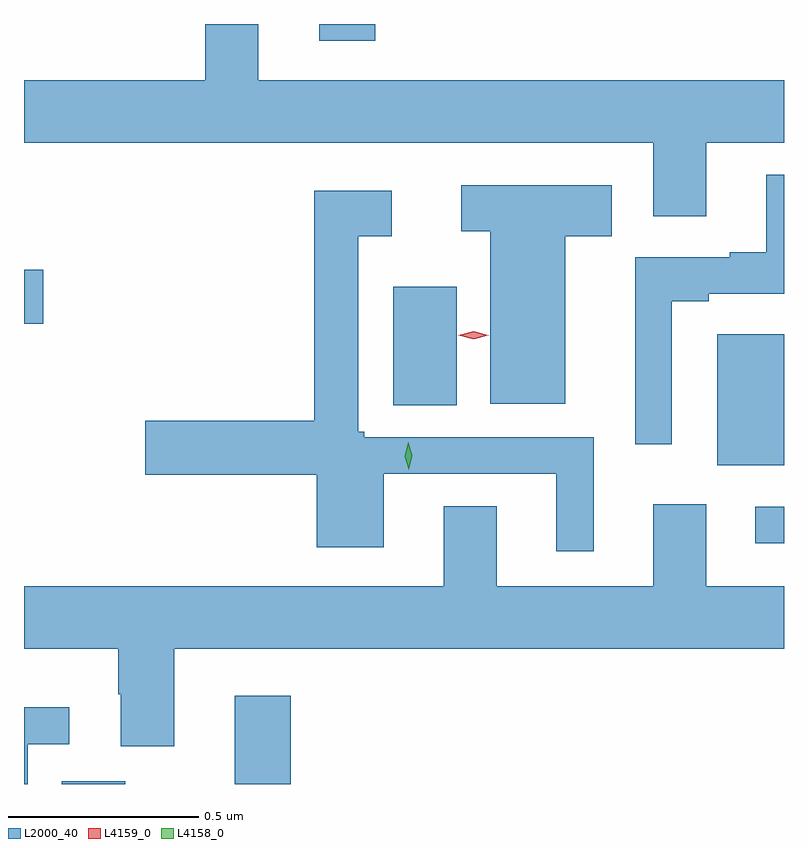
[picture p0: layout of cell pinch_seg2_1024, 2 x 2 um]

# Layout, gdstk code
import gdstk
lib = gdstk.Library(unit=1e-6, precision=1e-09)
def R(c, l, rs):  # rectangles x0, y0, x1, y1
    for r in rs: c.add(gdstk.rectangle(r[:2], r[2:], *l))
def P(c, l, *ps):  # polygons
    for p in ps: c.add(gdstk.Polygon(p, *l))
L2000_40 = (2000, 40)
L4158_0 = (4158, 0)
L4159_0 = (4159, 0)

pinch_seg2_1024 = lib.new_cell('pinch_seg2_1024')
R(pinch_seg2_1024, L2000_40, [(205.298,590.004,205.465,590.011), (205.754,590.004,205.901,590.236), (207.123,590.637,207.199,590.733), (207.023,590.843,207.199,591.187), (206.171,591.001,206.338,591.313), (205.199,591.215,205.249,591.357), (205.976,591.96,206.123,592.004)])
P(pinch_seg2_1024, L2000_40, [(206.995,591.692),(207.199,591.692),(207.199,591.856),(205.816,591.856),(205.816,592.004),(205.676,592.004),(205.676,591.856),(205.199,591.856),(205.199,591.692),(206.855,591.692),(206.855,591.498),(206.995,591.498)],
  [(206.904,591.274),(207.001,591.274),(207.001,591.294),(207.199,591.294),(207.199,591.607),(207.152,591.607),(207.152,591.403),(207.056,591.403),(207.056,591.39),(206.807,591.39),(206.807,590.898),(206.904,590.898)],
  [(206.623,591.446),(206.746,591.446),(206.746,591.58),(206.349,591.58),(206.349,591.458),(206.426,591.458),(206.426,591.005),(206.623,591.005)],
  [(206.698,590.916),(206.094,590.916),(206.094,590.931),(206.079,590.931),(206.079,591.446),(206.167,591.446),(206.167,591.565),(205.963,591.565),(205.963,590.96),(205.518,590.96),(205.518,590.818),(205.97,590.818),(205.97,590.627),(206.146,590.627),(206.146,590.82),(206.6,590.82),(206.6,590.616),(206.698,590.616)],
  [(205.594,590.36),(207.199,590.36),(207.199,590.524),(206.995,590.524),(206.995,590.74),(206.855,590.74),(206.855,590.524),(206.443,590.524),(206.443,590.735),(206.303,590.735),(206.303,590.524),(205.199,590.524),(205.199,590.36),(205.447,590.36),(205.447,590.24),(205.454,590.24),(205.454,590.103),(205.594,590.103)],
  [(205.209,590.109),(205.318,590.109),(205.318,590.206),(205.199,590.206),(205.199,590.004),(205.209,590.004)])
P(pinch_seg2_1024, L4158_0, [(206.211,590.831),(206.211,590.832),(206.201,590.867),(206.21,590.903),(206.21,590.903),(206.21,590.903),(206.221,590.868),(206.212,590.832)])
P(pinch_seg2_1024, L4159_0, [(206.382,591.175),(206.342,591.185),(206.342,591.185),(206.342,591.185),(206.382,591.195),(206.421,591.185),(206.422,591.185),(206.421,591.185)])

lib.write_gds('pinch_seg2_1024.gds')
